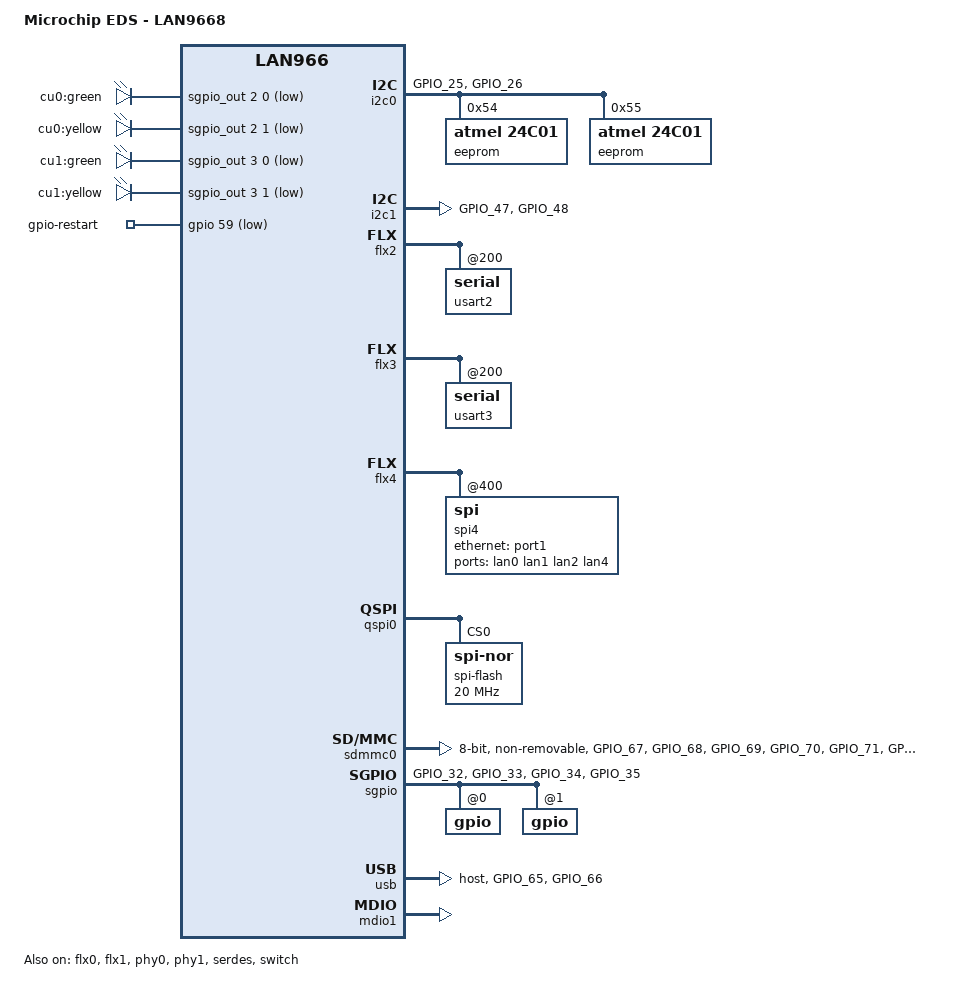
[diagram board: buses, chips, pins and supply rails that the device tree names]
// SPDX-License-Identifier: (GPL-2.0+ OR MIT)
/*
 * lan966x-pcb8385-lan9645x.dts - Device Tree file for LAN966X-PCB8385 board
 * driving Lan9645x on FPGA.
 *
 * Copyright (C) 2022 Microchip Technology Inc. and its subsidiaries
 *
 * Author: Horatiu Vultur <horatiu.vultur@microchip.com>
 * Author: Jerry Ray <jerry.ray@microchip.com>
 */
/dts-v1/;

#include "lan966x.dtsi"
#include "dt-bindings/phy/phy-lan966x-serdes.h"

/ {
	model = "Microchip EDS - LAN9668";
	compatible = "microchip,lan9668-pcb8385", "microchip,lan9668", "microchip,lan966";

	lan9645x_clock: lan9645x-clock {
		compatible = "fixed-clock";
		#clock-cells = <0>;
		clock-frequency = <66116000>; // fpga clock 66.116mhz, 15.125ns period
	};

	chosen {
		stdout-path = "serial0:115200n8";
	};

	aliases {
		serial0 = &usart3;
		serial1 = &usart2;
	};

	leds {
		compatible = "gpio-leds";

		led-p1-green {
			label = "cu0:green";
			gpios = <&sgpio_out 2 0 GPIO_ACTIVE_LOW>;
			default-state = "off";
			linux,default-trigger = "e200413c.mdio-mii:01:link";
		};

		led-p1-yellow {
			label = "cu0:yellow";
			gpios = <&sgpio_out 2 1 GPIO_ACTIVE_LOW>;
			default-state = "off";
		};

		led-p2-green {
			label = "cu1:green";
			gpios = <&sgpio_out 3 0 GPIO_ACTIVE_LOW>;
			default-state = "off";
			linux,default-trigger = "e200413c.mdio-mii:02:link";
		};

		led-p2-yellow {
			label = "cu1:yellow";
			gpios = <&sgpio_out 3 1 GPIO_ACTIVE_LOW>;
			default-state = "off";
		};
	};

	gpio-restart {
		compatible = "gpio-restart";
		gpios = <&gpio 59 GPIO_ACTIVE_LOW>;
		open-source;
		priority = <200>;
	};
};

&aes {
	status = "disabled"; /* Reserved by secure OS */
};

&gpio {
	emmc_sd_pins: emmc-sd-pins {
		/* eMMC_SD - CMD, CLK, D0, D1, D2, D3, RSTN */
		pins = "GPIO_67", "GPIO_68", "GPIO_69", "GPIO_70",
			"GPIO_71", "GPIO_72", "GPIO_77";
		function = "emmc_sd";
	};

	emmc_pins: emmc-pins {
		/* eMMC - D4, D5, D6, D7 */
		pins = "GPIO_73", "GPIO_74", "GPIO_75", "GPIO_76";
		function = "emmc";
	};

	fc0_b_pins: fc0-b-pins {
		/* SCL, SDA */
		pins = "GPIO_25", "GPIO_26";
		function = "fc0_b";
	};

	fc1_c_pins: fc1-c-pins {
		/* SCL, SDA */
		pins = "GPIO_47", "GPIO_48";
		function = "fc1_c";
	};

	fc2_b_pins: fc2-b-pins {
		/* RX, TX */
		pins = "GPIO_44", "GPIO_45";
		function = "fc2_b";
	};

	fc3_b_pins: fc3-b-pins {
		/* RX, TX */
		pins = "GPIO_52", "GPIO_53";
		function = "fc3_b";
	};

	fc4_b_pins: fc4-b-pins {
		/* SCK, MISO, MOSI */
		pins = "GPIO_56", "GPIO_57", "GPIO_58";
		function = "fc4_b";
	};

	fc_shrd13_pins: fc-shrd13-pins {
		pins = "GPIO_62";
		function = "fc_shrd13";
	};

	sgpio_a_pins: sgpio-a-pins {
		/* SCK, D0, D1, LD */
		pins = "GPIO_32", "GPIO_33", "GPIO_34", "GPIO_35";
		function = "sgpio_a";
	};

	usb_host_a_pins: usb_host_a_pins {
		pins = "GPIO_65", "GPIO_66";
		function = "usb_host_a";
	};

    lan9645x_irq_pins: lan9645x-irq-pins {
        pins = "GPIO_54";
        function = "irq_in_b";
    };
};

&flx0 {
	atmel,flexcom-mode = <ATMEL_FLEXCOM_MODE_TWI>;
	status = "okay";

	i2c0: i2c@600 {
		pinctrl-0 = <&fc0_b_pins>;
		pinctrl-names = "default";
		dmas = <0>, <0>;
		i2c-analog-filter;
		i2c-digital-filter;
		i2c-digital-filter-width-ns = <35>;
		i2c-sda-hold-time-ns = <1500>;
		status = "okay";
	};
};

&flx1 {
	atmel,flexcom-mode = <ATMEL_FLEXCOM_MODE_TWI>;
	status = "okay";

	i2c1: i2c@600 {
		pinctrl-0 = <&fc1_c_pins>;
		pinctrl-names = "default";
		dmas = <0>, <0>;
		i2c-analog-filter;
		i2c-digital-filter;
		i2c-digital-filter-width-ns = <35>;
		i2c-sda-hold-time-ns = <1500>;
		status = "okay";
	};
};

&flx2 {
	atmel,flexcom-mode = <ATMEL_FLEXCOM_MODE_USART>;
	status = "okay";

	usart2: serial@200 {
		pinctrl-0 = <&fc2_b_pins>;
		pinctrl-names = "default";
		status = "okay";
	};
};

&flx3 {
	atmel,flexcom-mode = <ATMEL_FLEXCOM_MODE_USART>;
	status = "okay";

	usart3: serial@200 {
		pinctrl-0 = <&fc3_b_pins>;
		pinctrl-names = "default";
		status = "okay";
	};
};

&flx4 {
	atmel,flexcom-mode = <ATMEL_FLEXCOM_MODE_SPI>;
	status = "okay";

	spi4: spi@400 {
		clock-names = "spi_clk";
		pinctrl-0 = <&fc4_b_pins>, <&fc_shrd13_pins>;
		pinctrl-names = "default";
		cs-gpios = <&gpio 62 GPIO_ACTIVE_LOW>;
		dmas = <0>, <0>;
		status = "okay";

		lan9645x_soc: soc@0 {
			compatible = "microchip,lan9645x-spi";
			spi-max-frequency = <11000000>;
			reg = <0>;
			#address-cells = <1>;
			#size-cells = <1>;

			mdio@4098 { // miim0
				compatible = "microchip,lan966x-miim";
				#address-cells = <1>;
				#size-cells = <0>;
				reg = <0x4098 0x28>;
				pinctrl-names = "default";
				pinctrl-0 = <&miim0_pins>;
			};

			mdio@40bc { // miim1
				compatible = "microchip,lan966x-miim";
				#address-cells = <1>;
				#size-cells = <0>;
				reg = <0x40bc 0x28>;
				pinctrl-names = "default";
				pinctrl-0 = <&miim1_pins>;

				sw_phy4: ethernet-phy@0 {
					reg = <0x0>;
				};

				sw_phy5: ethernet-phy@1 {
					reg = <0x1>;
				};

				sw_phy6: ethernet-phy@2 {
					reg = <0x2>;
				};

				sw_phy7: ethernet-phy@3 {
					reg = <0x3>;
				};

				sw_phy8: ethernet-phy@4 {
					reg = <0x4>;
				};
			};

            lan9645x_irq: lan9645x_irq@52001c {
				compatible = "microchip,lan9645x-oic";
				reg = <0 0>;

				pinctrl-names = "default";
				pinctrl-0 = <&irq_pins>, <&lan9645x_irq_pins>;

                 microchip,dst_target = < 2 >;
                 microchip,drv_mode = < 0x1 >;

			   interrupt-controller;
			   #interrupt-cells = <1>;
               interrupt-parent = <&lan9645x_irq>;
               interrupts-extended = <&gpio 54 IRQ_TYPE_LEVEL_LOW>;
               interrupt-names = "external-irq";
            };

			// See *bindings/net/dsa.yaml
			// See *bindings/net/dsa-port.yaml
			lan9645x: ethernet-switch@1 {
				compatible = "microchip,lan9645x-switch";
				reg = <0 0>;

               interrupts-extended = <&lan9645x_irq 17>;
               interrupt-names = "lan9645x-ana";

				ethernet-ports {
					#address-cells = <1>;
					#size-cells = <0>;

					port@0 {
						reg = <0>;
						label = "lan0";
						phy-mode = "gmii";
						phy-handle = <&sw_phy4>;
					};

					port@1 {
						reg = <1>;
						label = "lan1";
						phy-mode = "gmii";
						phy-handle = <&sw_phy5>;
					};

					port@2 {
						reg = <2>;
						label = "lan2";
						phy-mode = "gmii";
						phy-handle = <&sw_phy6>;
					};

					port@3 {
						reg = <3>;
						phy-mode = "gmii";
						phy-handle = <&sw_phy7>;

						//DSA cpu port to maserati
						ethernet = <&port1>;
						fixed-link {
								speed = <1000>;
								full-duplex;
						};
					};

					port@4 {
						reg = <4>;
						label = "lan4";
						phy-mode = "gmii";
						phy-handle = <&sw_phy8>;
					};
				};
			};

			gpio_lan9645x: pinctrl@4028 {
				compatible = "microchip,lan9645x-pinctrl";
				reg = <0x4028 0x6c>;
				gpio-controller;
				#gpio-cells = <2>;
				gpio-ranges = <&gpio_lan9645x 0 0 44>;

				sgpio_pins: sgpio-pins {
					pins = "GPIO_7", "GPIO_8", "GPIO_9", "GPIO_10";
					function = "sgpio_a";
				};

				miim0_pins: miim0-pins { // miim0: 28,29. there are many choices here?
					pins = "GPIO_28", "GPIO_29";
					function = "miim";
				};

				miim1_pins: miim1-pins { // miim1: 0,1. there are many choices here?
					pins = "GPIO_0", "GPIO_1";
					function = "miim";
				};

                irq_pins: irq-pins {
                    pins = "GPIO_33";
                    function = "irq0";
                };
			};

			gpio@40d4 {
				compatible = "microchip,sparx5-sgpio";
				reg = <0x40d4 0x46>;

				bus-frequency = <6611600>;
				clocks = <&lan9645x_clock>; // 1/10th of lan9645x clock

				#address-cells = <1>;
				#size-cells = <0>;

				pinctrl-names = "default";
				pinctrl-0 = <&sgpio_pins>;
				status = "okay";

				sgpio_lan9645x_in: gpio@0 {
					compatible = "microchip,sparx5-sgpio-bank";
					reg = <0>;
					gpio-controller;
					#gpio-cells = <3>;
					// interrupts = <18>;
					// interrupt-controller;
					// #interrupt-cells = <1>;
				};

				sgpio_lan9645x_out: gpio@1 {
					compatible = "microchip,sparx5-sgpio-bank";
					reg = <1>;
					gpio-controller;
					#gpio-cells = <3>;
				};
			};

				lan9645x_serdes: serdes@b0000 {
					compatible = "microchip,lan9645x-serdes";
					reg = <0xb0000 0x390>;
					#phy-cells = <2>;
					status = "okay";
				};
		};
	};
};

&i2c0 {
	eeprom@54 {
		compatible = "atmel,24c01";
		reg = <0x54>;
		status = "okay";
	};

	eeprom@55 {
		compatible = "atmel,24c01";
		reg = <0x55>;
		status = "okay";
	};

	/* UCS2113 at 0x57 */
};

&qspi0 {
	status = "okay";

	spi-flash@0 {
		compatible = "jedec,spi-nor";
		reg = <0>;
		spi-max-frequency = <20000000>;
		#address-cells = <1>;
		#size-cells = <1>;
		spi-tx-bus-width = <4>;
		spi-rx-bus-width = <4>;
		m25p,fast-read;
	};
};

&sdmmc0 {
	bus-width = <8>;
	cap-mmc-highspeed;
	cap-mmc-hw-reset;
	non-removable;
	pinctrl-0 = <&emmc_sd_pins>, <&emmc_pins>;
	pinctrl-names = "default";
	no-1-8-v;
	mmc-ddr-3_3v;
	tx-phase = <0>; /* 180 degrees phase shift */
	status = "okay";
};

&sgpio {
	pinctrl-0 = <&sgpio_a_pins>;
	pinctrl-names = "default";
	microchip,sgpio-port-ranges = <0 3>;
	status = "okay";

	gpio@0 {
		ngpios = <64>;
	};
	gpio@1 {
		ngpios = <64>;
	};
};

&spi4 {
	spidev: spidev@0 {
		compatible = "linux,spidev";
		reg = <0>;
		spi-max-frequency = <2000000>;
		status = "okay";
	};
};

&usb {
	dr_mode = "host";
	pinctrl-0 = <&usb_host_a_pins>;
	pinctrl-names = "default";
	status = "okay";
};


&mdio1 {
	status = "okay";
};

&phy0 {
	status = "okay";
};

&phy1 {
	status = "okay";
};

&port0 {
	phy-handle = <&phy0>;
	phy-mode = "gmii";
	phys = <&serdes 0 CU(0)>;
	status = "okay";
};

&port1 {
	phy-handle = <&phy1>;
	phy-mode = "gmii";
	phys = <&serdes 1 CU(1)>;
	status = "okay";

	// lan9645x DSA port
	#address-cells = <1>;
	#size-cells = <0>;

	fixed-link {
		speed = <1000>;
		full-duplex;
	};
};

&serdes {
	status = "okay";
};

&switch {
	status = "okay";
};
